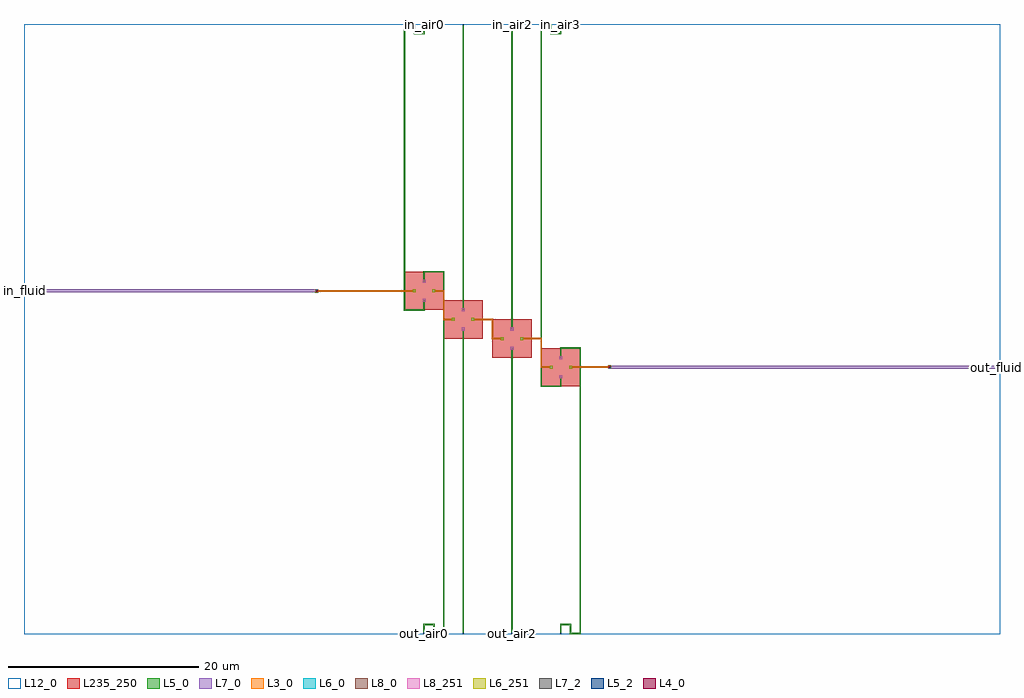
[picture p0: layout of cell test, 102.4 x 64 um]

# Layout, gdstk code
import gdstk
lib = gdstk.Library(unit=1e-6, precision=1e-09)
def R(c, l, rs):  # rectangles x0, y0, x1, y1
    for r in rs: c.add(gdstk.rectangle(r[:2], r[2:], *l))
def A(c, l, x, y, w, h, nx, ny, dx, dy):  # array of equal rectangles
    R(c, l, [(x+i*dx, y+j*dy, x+i*dx+w, y+j*dy+h) for i in range(nx) for j in range(ny)])
L3_0 = (3, 0)
L4_0 = (4, 0)
L5_0 = (5, 0)
L5_2 = (5, 2)
L6_0 = (6, 0)
L6_251 = (6, 251)
L7_0 = (7, 0)
L7_2 = (7, 2)
L8_0 = (8, 0)
L8_251 = (8, 251)
L12_0 = (12, 0)
L235_250 = (235, 250)

via_m1m2_pr = lib.new_cell('VIA_M1M2_PR')
R(via_m1m2_pr, L3_0, [(-0.16,-0.13,0.16,0.13)])
R(via_m1m2_pr, L4_0, [(-0.075,-0.075,0.075,0.075)])
R(via_m1m2_pr, L5_0, [(-0.13,-0.16,0.13,0.16)])

via_m2m3_pr_m = lib.new_cell('VIA_M2M3_PR_M')
R(via_m2m3_pr_m, L5_0, [(-0.14,-0.185,0.14,0.185)])
R(via_m2m3_pr_m, L6_0, [(-0.1,-0.1,0.1,0.1)])
R(via_m2m3_pr_m, L7_0, [(-0.165,-0.165,0.165,0.165)])

valve_20px_1 = lib.new_cell('valve_20px_1')
R(valve_20px_1, L6_0, [(0.864,1.84,1.184,2.16), (2.912,1.84,3.232,2.16)])
R(valve_20px_1, L6_251, [(0.864,1.84,1.184,2.16), (2.912,1.84,3.232,2.16)])
R(valve_20px_1, L8_0, [(1.888,0.84,2.208,1.16), (1.888,2.84,2.208,3.16)])
R(valve_20px_1, L8_251, [(1.888,0.84,2.208,1.16), (1.888,2.84,2.208,3.16)])
R(valve_20px_1, L235_250, [(0,0,4.096,4)])

test = lib.new_cell('test')
A(test, L5_2, 46.01, 0, 0.14, 0.14, 3, 2, 5.12, 63.86)
R(test, L5_2, [(41.914,0,42.054,0.14), (41.914,63.86,42.054,64)])
R(test, L7_2, [(102.1,27.85,102.4,28.15), (0,35.85,0.3,36.15)])
R(test, L12_0, [(0,0,102.4,64)])
test.add(gdstk.FlexPath([(43.038,36),(44.032,36)], 0.14, ends=(0, 0.07), simple_path=True, layer=3, datatype=0))  # L3_0
test.add(gdstk.FlexPath([(44.032,33),(44.032,36)], 0.14, ends="extended", simple_path=True, layer=3, datatype=0))  # L3_0
test.add(gdstk.FlexPath([(44.032,33),(45.026,33)], 0.14, ends=(0.07, 0), simple_path=True, layer=3, datatype=0))  # L3_0
test.add(gdstk.FlexPath([(47.134,33),(49.152,33)], 0.14, ends=(0, 0.07), simple_path=True, layer=3, datatype=0))  # L3_0
test.add(gdstk.FlexPath([(49.152,31),(49.152,33)], 0.14, ends="extended", simple_path=True, layer=3, datatype=0))  # L3_0
test.add(gdstk.FlexPath([(49.152,31),(50.146,31)], 0.14, ends=(0.07, 0), simple_path=True, layer=3, datatype=0))  # L3_0
test.add(gdstk.FlexPath([(52.254,31),(54.272,31)], 0.14, ends=(0, 0.07), simple_path=True, layer=3, datatype=0))  # L3_0
test.add(gdstk.FlexPath([(54.272,28),(54.272,31)], 0.14, ends="extended", simple_path=True, layer=3, datatype=0))  # L3_0
test.add(gdstk.FlexPath([(54.272,28),(55.266,28)], 0.14, ends=(0.07, 0), simple_path=True, layer=3, datatype=0))  # L3_0
test.add(gdstk.FlexPath([(30.72,36),(40.93,36)], 0.14, ends=(0.07, 0), simple_path=True, layer=3, datatype=0))  # L3_0
test.add(gdstk.FlexPath([(57.374,28),(61.44,28)], 0.14, ends=(0, 0.07), simple_path=True, layer=3, datatype=0))  # L3_0
test.add(gdstk.FlexPath([(41.984,34),(41.984,35)], 0.14, ends=(0.07, 0), simple_path=True, layer=5, datatype=0))  # L5_0
test.add(gdstk.FlexPath([(39.936,34),(41.984,34)], 0.14, ends="extended", simple_path=True, layer=5, datatype=0))  # L5_0
test.add(gdstk.FlexPath([(39.936,34),(39.936,63.93)], 0.14, ends="extended", simple_path=True, layer=5, datatype=0))  # L5_0
test.add(gdstk.FlexPath([(39.936,63.93),(40.96,63.93)], 0.14, ends="extended", simple_path=True, layer=5, datatype=0))  # L5_0
test.add(gdstk.FlexPath([(40.96,63),(40.96,63.93)], 0.14, ends="extended", simple_path=True, layer=5, datatype=0))  # L5_0
test.add(gdstk.FlexPath([(40.96,63),(41.984,63)], 0.14, ends="extended", simple_path=True, layer=5, datatype=0))  # L5_0
test.add(gdstk.FlexPath([(41.984,63),(41.984,63.93)], 0.14, ends=(0.07, 0), simple_path=True, layer=5, datatype=0))  # L5_0
test.add(gdstk.FlexPath([(46.08,34),(46.08,63.93)], 0.14, ends="flush", simple_path=True, layer=5, datatype=0))  # L5_0
test.add(gdstk.FlexPath([(51.2,32),(51.2,63.93)], 0.14, ends="flush", simple_path=True, layer=5, datatype=0))  # L5_0
test.add(gdstk.FlexPath([(56.32,26),(56.32,27)], 0.14, ends=(0.07, 0), simple_path=True, layer=5, datatype=0))  # L5_0
test.add(gdstk.FlexPath([(54.272,26),(56.32,26)], 0.14, ends="extended", simple_path=True, layer=5, datatype=0))  # L5_0
test.add(gdstk.FlexPath([(54.272,26),(54.272,63.93)], 0.14, ends="extended", simple_path=True, layer=5, datatype=0))  # L5_0
test.add(gdstk.FlexPath([(54.272,63.93),(55.296,63.93)], 0.14, ends="extended", simple_path=True, layer=5, datatype=0))  # L5_0
test.add(gdstk.FlexPath([(55.296,63),(55.296,63.93)], 0.14, ends="extended", simple_path=True, layer=5, datatype=0))  # L5_0
test.add(gdstk.FlexPath([(55.296,63),(56.32,63)], 0.14, ends="extended", simple_path=True, layer=5, datatype=0))  # L5_0
test.add(gdstk.FlexPath([(56.32,63),(56.32,63.93)], 0.14, ends=(0.07, 0), simple_path=True, layer=5, datatype=0))  # L5_0
test.add(gdstk.FlexPath([(41.984,37),(41.984,38)], 0.14, ends=(0, 0.07), simple_path=True, layer=5, datatype=0))  # L5_0
test.add(gdstk.FlexPath([(41.984,38),(44.032,38)], 0.14, ends="extended", simple_path=True, layer=5, datatype=0))  # L5_0
test.add(gdstk.FlexPath([(44.032,0.07),(44.032,38)], 0.14, ends="extended", simple_path=True, layer=5, datatype=0))  # L5_0
test.add(gdstk.FlexPath([(43.008,0.07),(44.032,0.07)], 0.14, ends="extended", simple_path=True, layer=5, datatype=0))  # L5_0
test.add(gdstk.FlexPath([(43.008,0.07),(43.008,1)], 0.14, ends="extended", simple_path=True, layer=5, datatype=0))  # L5_0
test.add(gdstk.FlexPath([(41.984,1),(43.008,1)], 0.14, ends="extended", simple_path=True, layer=5, datatype=0))  # L5_0
test.add(gdstk.FlexPath([(41.984,0.07),(41.984,1)], 0.14, ends=(0, 0.07), simple_path=True, layer=5, datatype=0))  # L5_0
test.add(gdstk.FlexPath([(46.08,0.07),(46.08,32)], 0.14, ends="flush", simple_path=True, layer=5, datatype=0))  # L5_0
test.add(gdstk.FlexPath([(51.2,0.07),(51.2,30)], 0.14, ends="flush", simple_path=True, layer=5, datatype=0))  # L5_0
test.add(gdstk.FlexPath([(56.32,29),(56.32,30)], 0.14, ends=(0, 0.07), simple_path=True, layer=5, datatype=0))  # L5_0
test.add(gdstk.FlexPath([(56.32,30),(58.368,30)], 0.14, ends="extended", simple_path=True, layer=5, datatype=0))  # L5_0
test.add(gdstk.FlexPath([(58.368,0.07),(58.368,30)], 0.14, ends="extended", simple_path=True, layer=5, datatype=0))  # L5_0
test.add(gdstk.FlexPath([(57.344,0.07),(58.368,0.07)], 0.14, ends="extended", simple_path=True, layer=5, datatype=0))  # L5_0
test.add(gdstk.FlexPath([(57.344,0.07),(57.344,1)], 0.14, ends="extended", simple_path=True, layer=5, datatype=0))  # L5_0
test.add(gdstk.FlexPath([(56.32,1),(57.344,1)], 0.14, ends="extended", simple_path=True, layer=5, datatype=0))  # L5_0
test.add(gdstk.FlexPath([(56.32,0.07),(56.32,1)], 0.14, ends=(0, 0.07), simple_path=True, layer=5, datatype=0))  # L5_0
test.add(gdstk.FlexPath([(0,36),(30.72,36)], 0.3, ends=(0, 0.15), simple_path=True, layer=7, datatype=0))  # L7_0
test.add(gdstk.FlexPath([(61.44,28),(102.4,28)], 0.3, ends=(0.15, 0), simple_path=True, layer=7, datatype=0))  # L7_0
test.add(gdstk.Reference(via_m1m2_pr, (30.72,36)))
test.add(gdstk.Reference(via_m1m2_pr, (61.44,28)))
test.add(gdstk.Reference(via_m2m3_pr_m, (30.72,36)))
test.add(gdstk.Reference(via_m2m3_pr_m, (61.44,28)))
test.add(gdstk.Reference(valve_20px_1, (44.032,31)))
test.add(gdstk.Reference(valve_20px_1, (49.152,29)))
test.add(gdstk.Reference(valve_20px_1, (39.936,38), x_reflection=True))
test.add(gdstk.Reference(valve_20px_1, (54.272,30), x_reflection=True))
test.add(gdstk.Label('in_air0', (41.984,63.93), layer=5, texttype=1))
test.add(gdstk.Label('in_air1', (46.08,63.93), layer=5, texttype=1))
test.add(gdstk.Label('in_air2', (51.2,63.93), layer=5, texttype=1))
test.add(gdstk.Label('in_air3', (56.32,63.93), layer=5, texttype=1))
test.add(gdstk.Label('out_air0', (41.984,0.07), layer=5, texttype=1))
test.add(gdstk.Label('out_air1', (46.08,0.07), layer=5, texttype=1))
test.add(gdstk.Label('out_air2', (51.2,0.07), layer=5, texttype=1))
test.add(gdstk.Label('out_air3', (56.32,0.07), layer=5, texttype=1))
test.add(gdstk.Label('in_fluid', (0.15,36), layer=7, texttype=1))
test.add(gdstk.Label('out_fluid', (102.25,28), layer=7, texttype=1))

lib.write_gds('test.gds')
